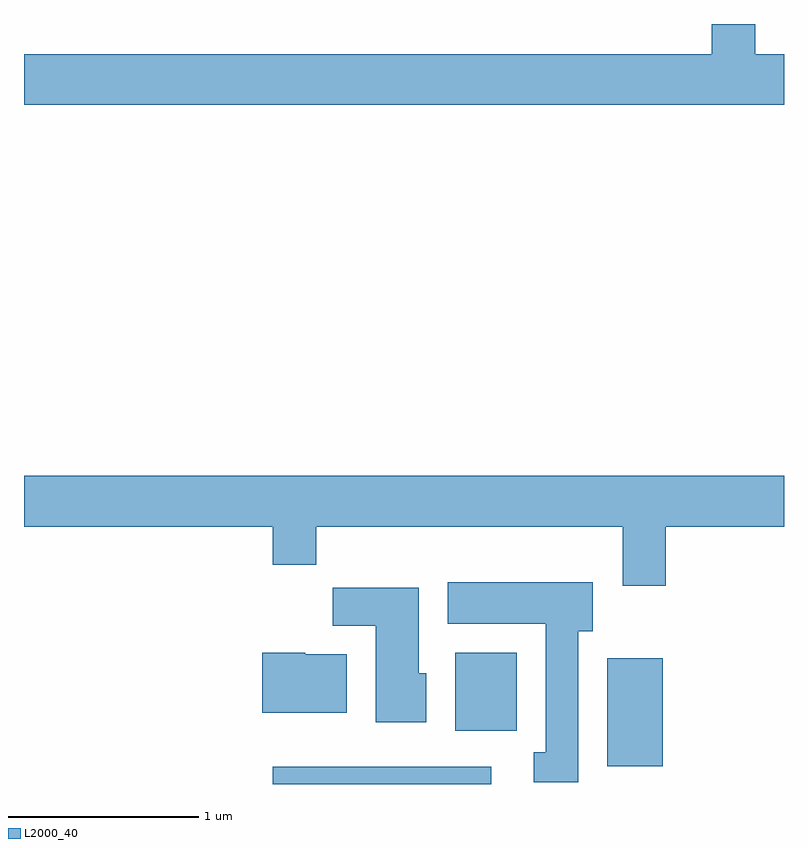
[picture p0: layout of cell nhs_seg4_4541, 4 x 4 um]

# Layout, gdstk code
import gdstk
lib = gdstk.Library(unit=1e-6, precision=1e-09)
def R(c, l, rs):  # rectangles x0, y0, x1, y1
    for r in rs: c.add(gdstk.rectangle(r[:2], r[2:], *l))
def P(c, l, *ps):  # polygons
    for p in ps: c.add(gdstk.Polygon(p, *l))
L2000_40 = (2000, 40)

nhs_seg4_4541 = lib.new_cell('nhs_seg4_4541')
R(nhs_seg4_4541, L2000_40, [(318.921,1359.982,320.069,1360.074), (320.681,1360.076,320.974,1360.644), (319.881,1360.261,320.204,1360.674)])
P(nhs_seg4_4541, L2000_40, [(321.611,1363.824),(321.459,1363.824),(321.459,1363.982),(321.231,1363.982),(321.231,1363.824),(317.611,1363.824),(317.611,1363.556),(321.611,1363.556)],
  [(320.989,1361.336),(321.611,1361.336),(321.611,1361.604),(317.611,1361.604),(317.611,1361.336),(318.921,1361.336),(318.921,1361.136),(319.149,1361.136),(319.149,1361.336),(320.761,1361.336),(320.761,1361.026),(320.989,1361.026)],
  [(320.529,1360.786),(320.604,1360.786),(320.604,1361.044),(319.841,1361.044),(319.841,1360.826),(320.356,1360.826),(320.356,1360.149),(320.293,1360.149),(320.293,1359.991),(320.529,1359.991)],
  [(319.729,1360.564),(319.689,1360.564),(319.689,1361.014),(319.236,1361.014),(319.236,1360.816),(319.461,1360.816),(319.461,1360.306),(319.729,1360.306)],
  [(319.309,1360.664),(319.09,1360.664),(319.09,1360.674),(318.866,1360.674),(318.866,1360.356),(319.309,1360.356)])

lib.write_gds('nhs_seg4_4541.gds')
